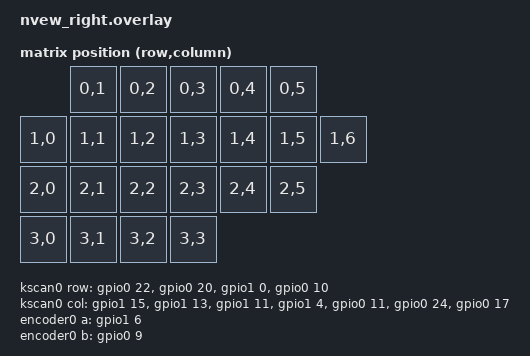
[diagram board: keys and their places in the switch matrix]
#include <dt-bindings/zmk/matrix_transform.h>

/ {    
    compatible = "zmk,keyboard";
    chosen {
        zmk,kscan = &kscan0;
        zmk,matrix-transform = &default_transform;
    };

    default_transform: keymap_transform {
        compatible = "zmk,matrix-transform";
        columns = <7>;
        rows = <4>;
        map = <
                RC(0,1) RC(0,2) RC(0,3) RC(0,4) RC(0,5)
        RC(1,0) RC(1,1) RC(1,2) RC(1,3) RC(1,4) RC(1,5) RC(1,6)
        RC(2,0) RC(2,1) RC(2,2) RC(2,3) RC(2,4) RC(2,5)
        RC(3,0) RC(3,1) RC(3,2) RC(3,3)
        >;
    };    

    kscan0: kscan {
        compatible = "zmk,kscan-gpio-matrix";

        row-gpios = <&gpio0 22 (GPIO_ACTIVE_LOW | GPIO_PULL_UP)>
            , <&gpio0 20 (GPIO_ACTIVE_LOW | GPIO_PULL_UP)>
            , <&gpio1 0 (GPIO_ACTIVE_LOW | GPIO_PULL_UP)>
            , <&gpio0 10 (GPIO_ACTIVE_LOW | GPIO_PULL_UP)>
            ;

        col-gpios = <&gpio1 15 (GPIO_ACTIVE_LOW | GPIO_PULL_UP)>
            , <&gpio1 13 (GPIO_ACTIVE_LOW | GPIO_PULL_UP)>
            , <&gpio1 11 (GPIO_ACTIVE_LOW | GPIO_PULL_UP)>
            , <&gpio1 4 (GPIO_ACTIVE_LOW | GPIO_PULL_UP)>
            , <&gpio0 11 (GPIO_ACTIVE_LOW | GPIO_PULL_UP)>
            , <&gpio0 24 (GPIO_ACTIVE_LOW | GPIO_PULL_UP)>
            , <&gpio0 17 (GPIO_ACTIVE_LOW | GPIO_PULL_UP)>
            ;
    };

    encoder0: encoder {
        compatible = "kailh,mouse-scroll-wheel-encoder";
        a-gpios = <&gpio1 6 (GPIO_ACTIVE_LOW | GPIO_PULL_UP)>;
        b-gpios = <&gpio0 9 (GPIO_ACTIVE_LOW | GPIO_PULL_UP)>;

        steps = <24>;
        triggers-per-rotation = <24>;
        status = "okay";
    };

    sensors {
        compatible = "zmk,keymap-sensors";
        sensors = <&encoder0>;
    };

    &i2c1 {
        status = "okay";
        pinctrl-0 = <&i2c1_default>;
        pinctrl-names = "default";

        ssd1306@3c {
            compatible = "solomon,ssd1306fb";
            reg = <0x3c>;
            width = <128>;
            height = <32>;
            segment-offset = <0>;
            page-offset = <0>;
            display-offset = <0>;
            multiplex-ratio = <31>;
            prechargep = <2>;
            com-invdir = <0>;
            scan-dir-remap = <1>;
            segment-remap = <1>;
            contrast = <0x7F>;
            vcomh = <0x20>;
        };
    };
};

&pinctrl {
    i2c1_default: i2c1_default {
        group1 {
            psels = <NRF_PSEL(TWIM_SCL, 0, 8)>, <NRF_PSEL(TWIM_SDA, 0, 6)>;
        };
    };
};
